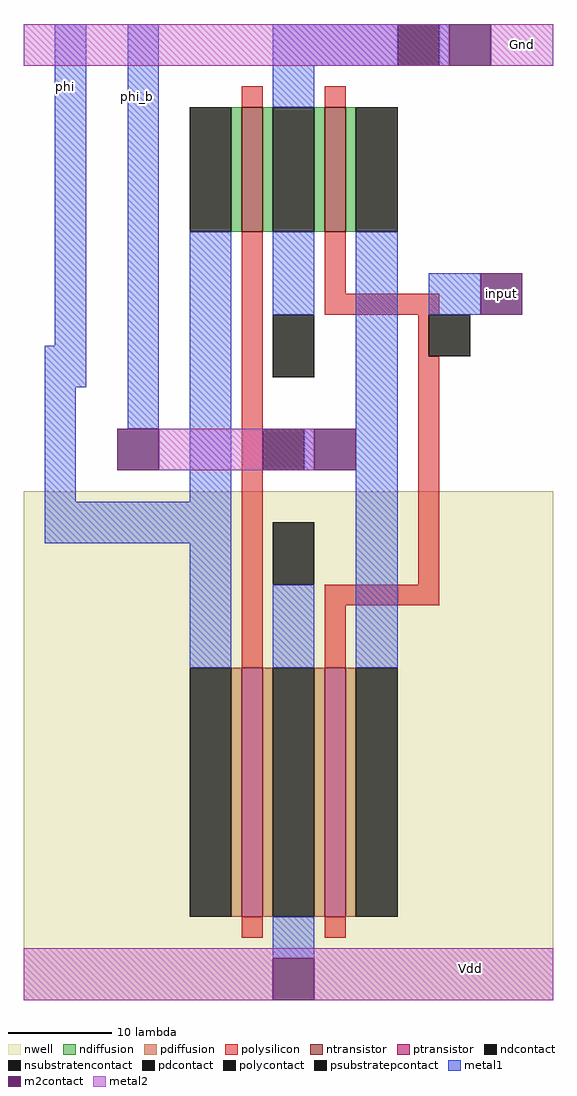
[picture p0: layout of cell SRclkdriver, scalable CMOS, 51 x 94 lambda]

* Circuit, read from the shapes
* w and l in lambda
.subckt SRclkdriver Gnd Vdd input phi phi_b
M1 Gnd phi_b phi Gnd nfet w=12 l=2
M2 phi_b input Gnd Gnd nfet w=12 l=2
M3 Vdd phi_b phi Vdd pfet w=24 l=2
M4 phi_b input Vdd Vdd pfet w=24 l=2
.ends

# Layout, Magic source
magic
tech scmos
<< nwell >>
rect 0 -80 51 -31
<< polysilicon >>
rect 21 6 23 8
rect 29 6 31 8
rect 21 -48 23 -6
rect 29 -12 31 -6
rect 29 -14 40 -12
rect 38 -18 39 -14
rect 38 -40 40 -18
rect 29 -42 40 -40
rect 29 -48 31 -42
rect 21 -74 23 -72
rect 29 -74 31 -72
<< ndiffusion >>
rect 20 -6 21 6
rect 23 -6 24 6
rect 28 -6 29 6
rect 31 -6 32 6
<< pdiffusion >>
rect 20 -72 21 -48
rect 23 -72 24 -48
rect 28 -72 29 -48
rect 31 -72 32 -48
<< metal1 >>
rect 3 -17 6 14
rect 2 -21 6 -17
rect 2 -32 5 -21
rect 10 -25 13 14
rect 24 10 36 14
rect 40 10 41 14
rect 24 6 28 10
rect 16 -32 20 -6
rect 24 -14 28 -6
rect 27 -29 28 -25
rect 2 -36 20 -32
rect 16 -48 20 -36
rect 24 -48 28 -40
rect 32 -48 36 -6
rect 39 -14 44 -10
rect 24 -76 28 -72
<< metal2 >>
rect 0 10 41 14
rect 45 10 51 14
rect 13 -29 28 -25
rect 0 -76 51 -75
rect 0 -80 24 -76
rect 28 -80 51 -76
<< ntransistor >>
rect 21 -6 23 6
rect 29 -6 31 6
<< ptransistor >>
rect 21 -72 23 -48
rect 29 -72 31 -48
<< polycontact >>
rect 39 -18 43 -14
rect 23 -29 27 -25
<< ndcontact >>
rect 16 -6 20 6
rect 24 -6 28 6
rect 32 -6 36 6
<< pdcontact >>
rect 16 -72 20 -48
rect 24 -72 28 -48
rect 32 -72 36 -48
<< m2contact >>
rect 41 10 45 14
rect 9 -29 13 -25
rect 28 -29 32 -25
rect 44 -14 48 -10
rect 24 -80 28 -76
<< psubstratepcontact >>
rect 36 10 40 14
rect 24 -20 28 -14
<< nsubstratencontact >>
rect 24 -40 28 -34
<< labels >>
rlabel metal2 43 -77 43 -77 5 Vdd
rlabel metal1 4 8 4 8 1 phi
rlabel metal1 11 7 11 7 1 phi_b
rlabel metal2 48 12 48 12 1 Gnd
rlabel m2contact 46 -12 46 -12 1 input
<< end >>
